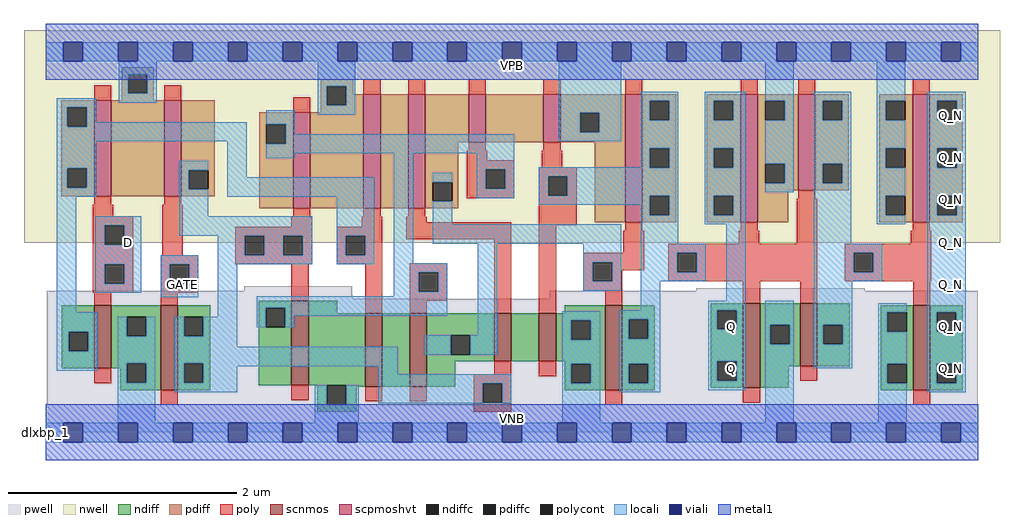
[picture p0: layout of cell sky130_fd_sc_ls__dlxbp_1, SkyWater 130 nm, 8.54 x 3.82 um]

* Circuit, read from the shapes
.subckt sky130_fd_sc_ls__dlxbp_1 D GATE VGND VNB VPB VPWR Q Q_N
XM1 VGND D n1 VNB sky130_fd_pr__nfet_01v8 w=0.55 l=0.15
XM2 n2 GATE VGND VNB sky130_fd_pr__nfet_01v8 w=0.74 l=0.15
XM3 VGND n2 n3 VNB sky130_fd_pr__nfet_01v8 w=0.74 l=0.15
XM4 n4 n1 VGND VNB sky130_fd_pr__nfet_01v8 w=0.64 l=0.15
XM5 n5 n3 n4 VNB sky130_fd_pr__nfet_01v8 w=0.64 l=0.15
XM6 n6 n2 n5 VNB sky130_fd_pr__nfet_01v8 w=0.42 l=0.15
XM7 VGND n7 n6 VNB sky130_fd_pr__nfet_01v8 w=0.42 l=0.15
XM8 n7 n5 VGND VNB sky130_fd_pr__nfet_01v8 w=0.74 l=0.15
XM9 VGND n7 Q VNB sky130_fd_pr__nfet_01v8 w=0.74 l=0.15
XM10 n8 n7 VGND VNB sky130_fd_pr__nfet_01v8 w=0.55 l=0.15
XM11 Q_N n8 VGND VNB sky130_fd_pr__nfet_01v8 w=0.74 l=0.15
XM12 VPWR D n1 VPB sky130_fd_pr__pfet_01v8_hvt w=0.84 l=0.15
XM13 n2 GATE VPWR VPB sky130_fd_pr__pfet_01v8_hvt w=0.84 l=0.15
XM14 VPWR n2 n3 VPB sky130_fd_pr__pfet_01v8_hvt w=0.84 l=0.15
XM15 n9 n1 VPWR VPB sky130_fd_pr__pfet_01v8_hvt w=1 l=0.15
XM16 n5 n2 n9 VPB sky130_fd_pr__pfet_01v8_hvt w=1 l=0.15
XM17 n10 n3 n5 VPB sky130_fd_pr__pfet_01v8_hvt w=0.42 l=0.15
XM18 VPWR n7 n10 VPB sky130_fd_pr__pfet_01v8_hvt w=0.42 l=0.15
XM19 n7 n5 VPWR VPB sky130_fd_pr__pfet_01v8_hvt w=1.12 l=0.15
XM20 VPWR n7 Q VPB sky130_fd_pr__pfet_01v8_hvt w=1.12 l=0.15
XM21 n8 n7 VPWR VPB sky130_fd_pr__pfet_01v8_hvt w=0.84 l=0.15
XM22 Q_N n8 VPWR VPB sky130_fd_pr__pfet_01v8_hvt w=1.12 l=0.15
.ends

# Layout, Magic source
magic
tech sky130A
magscale 1 2
<< nwell >>
rect -38 332 1670 704
<< pwell >>
rect 347 248 536 256
rect 1138 248 1433 252
rect 2 234 536 248
rect 882 234 1631 248
rect 2 49 1631 234
rect 0 0 1632 49
<< scnmos >>
rect 85 112 115 222
rect 201 74 231 222
rect 430 82 460 230
rect 559 80 589 208
rect 637 80 667 208
rect 785 124 815 208
rect 863 124 893 208
rect 979 74 1009 222
rect 1220 78 1250 226
rect 1320 116 1350 226
rect 1518 74 1548 222
<< scpmoshvt >>
rect 85 413 115 581
rect 207 413 237 581
rect 433 392 463 560
rect 556 392 586 592
rect 634 392 664 592
rect 740 508 770 592
rect 871 508 901 592
rect 1014 368 1044 592
rect 1216 368 1246 592
rect 1317 424 1347 592
rect 1517 368 1547 592
<< ndiff >>
rect 28 176 85 222
rect 28 142 40 176
rect 74 142 85 176
rect 28 112 85 142
rect 115 202 201 222
rect 115 168 142 202
rect 176 168 201 202
rect 115 121 201 168
rect 115 112 142 121
rect 130 87 142 112
rect 176 87 201 121
rect 130 74 201 87
rect 231 202 288 222
rect 231 168 242 202
rect 276 168 288 202
rect 231 121 288 168
rect 231 87 242 121
rect 276 87 288 121
rect 231 74 288 87
rect 373 218 430 230
rect 373 184 385 218
rect 419 184 430 218
rect 373 82 430 184
rect 460 208 510 230
rect 908 208 979 222
rect 460 82 559 208
rect 475 48 492 82
rect 526 80 559 82
rect 589 80 637 208
rect 667 170 785 208
rect 667 136 709 170
rect 743 136 785 170
rect 667 124 785 136
rect 815 124 863 208
rect 893 196 979 208
rect 893 162 920 196
rect 954 162 979 196
rect 893 124 979 162
rect 667 80 717 124
rect 908 120 979 124
rect 526 48 544 80
rect 475 36 544 48
rect 908 86 920 120
rect 954 86 979 120
rect 908 74 979 86
rect 1009 198 1066 222
rect 1009 164 1020 198
rect 1054 164 1066 198
rect 1009 120 1066 164
rect 1009 86 1020 120
rect 1054 86 1066 120
rect 1009 74 1066 86
rect 1164 214 1220 226
rect 1164 180 1175 214
rect 1209 180 1220 214
rect 1164 124 1220 180
rect 1164 90 1175 124
rect 1209 90 1220 124
rect 1164 78 1220 90
rect 1250 188 1320 226
rect 1250 154 1268 188
rect 1302 154 1320 188
rect 1250 116 1320 154
rect 1350 188 1407 226
rect 1350 154 1361 188
rect 1395 154 1407 188
rect 1350 116 1407 154
rect 1461 210 1518 222
rect 1461 176 1473 210
rect 1507 176 1518 210
rect 1461 120 1518 176
rect 1250 78 1300 116
rect 1461 86 1473 120
rect 1507 86 1518 120
rect 1461 74 1518 86
rect 1548 210 1605 222
rect 1548 176 1559 210
rect 1593 176 1605 210
rect 1548 120 1605 176
rect 1548 86 1559 120
rect 1593 86 1605 120
rect 1548 74 1605 86
<< pdiff >>
rect 133 627 189 639
rect 133 593 144 627
rect 178 593 189 627
rect 133 581 189 593
rect 481 606 538 618
rect 27 569 85 581
rect 27 535 38 569
rect 72 535 85 569
rect 27 462 85 535
rect 27 428 38 462
rect 72 428 85 462
rect 27 413 85 428
rect 115 413 207 581
rect 237 459 296 581
rect 481 572 492 606
rect 526 592 538 606
rect 526 572 556 592
rect 481 560 556 572
rect 237 425 250 459
rect 284 425 296 459
rect 237 413 296 425
rect 374 539 433 560
rect 374 505 386 539
rect 420 505 433 539
rect 374 392 433 505
rect 463 392 556 560
rect 586 392 634 592
rect 664 508 740 592
rect 770 508 871 592
rect 901 559 1014 592
rect 901 525 935 559
rect 969 525 1014 559
rect 901 508 1014 525
rect 664 438 722 508
rect 664 404 677 438
rect 711 404 722 438
rect 664 392 722 404
rect 961 368 1014 508
rect 1044 580 1103 592
rect 1044 546 1057 580
rect 1091 546 1103 580
rect 1044 497 1103 546
rect 1044 463 1057 497
rect 1091 463 1103 497
rect 1044 414 1103 463
rect 1044 380 1057 414
rect 1091 380 1103 414
rect 1044 368 1103 380
rect 1157 580 1216 592
rect 1157 546 1169 580
rect 1203 546 1216 580
rect 1157 497 1216 546
rect 1157 463 1169 497
rect 1203 463 1216 497
rect 1157 414 1216 463
rect 1157 380 1169 414
rect 1203 380 1216 414
rect 1157 368 1216 380
rect 1246 580 1317 592
rect 1246 546 1259 580
rect 1293 546 1317 580
rect 1246 470 1317 546
rect 1246 436 1259 470
rect 1293 436 1317 470
rect 1246 424 1317 436
rect 1347 580 1405 592
rect 1347 546 1360 580
rect 1394 546 1405 580
rect 1347 470 1405 546
rect 1347 436 1360 470
rect 1394 436 1405 470
rect 1347 424 1405 436
rect 1459 580 1517 592
rect 1459 546 1470 580
rect 1504 546 1517 580
rect 1459 497 1517 546
rect 1459 463 1470 497
rect 1504 463 1517 497
rect 1246 368 1299 424
rect 1459 414 1517 463
rect 1459 380 1470 414
rect 1504 380 1517 414
rect 1459 368 1517 380
rect 1547 580 1605 592
rect 1547 546 1560 580
rect 1594 546 1605 580
rect 1547 497 1605 546
rect 1547 463 1560 497
rect 1594 463 1605 497
rect 1547 414 1605 463
rect 1547 380 1560 414
rect 1594 380 1605 414
rect 1547 368 1605 380
<< ndiffc >>
rect 40 142 74 176
rect 142 168 176 202
rect 142 87 176 121
rect 242 168 276 202
rect 242 87 276 121
rect 385 184 419 218
rect 492 48 526 82
rect 709 136 743 170
rect 920 162 954 196
rect 920 86 954 120
rect 1020 164 1054 198
rect 1020 86 1054 120
rect 1175 180 1209 214
rect 1175 90 1209 124
rect 1268 154 1302 188
rect 1361 154 1395 188
rect 1473 176 1507 210
rect 1473 86 1507 120
rect 1559 176 1593 210
rect 1559 86 1593 120
<< pdiffc >>
rect 144 593 178 627
rect 38 535 72 569
rect 38 428 72 462
rect 492 572 526 606
rect 250 425 284 459
rect 386 505 420 539
rect 935 525 969 559
rect 677 404 711 438
rect 1057 546 1091 580
rect 1057 463 1091 497
rect 1057 380 1091 414
rect 1169 546 1203 580
rect 1169 463 1203 497
rect 1169 380 1203 414
rect 1259 546 1293 580
rect 1259 436 1293 470
rect 1360 546 1394 580
rect 1360 436 1394 470
rect 1470 546 1504 580
rect 1470 463 1504 497
rect 1470 380 1504 414
rect 1560 546 1594 580
rect 1560 463 1594 497
rect 1560 380 1594 414
<< poly >>
rect 85 581 115 607
rect 207 581 237 607
rect 433 560 463 586
rect 556 592 586 618
rect 634 592 664 618
rect 740 592 770 618
rect 871 592 901 618
rect 1014 592 1044 618
rect 1216 592 1246 618
rect 1317 592 1347 618
rect 1517 592 1547 618
rect 85 398 115 413
rect 207 398 237 413
rect 82 378 118 398
rect 82 362 153 378
rect 82 328 103 362
rect 137 328 153 362
rect 82 294 153 328
rect 204 310 240 398
rect 740 493 770 508
rect 871 493 901 508
rect 737 476 773 493
rect 737 460 820 476
rect 868 464 904 493
rect 737 426 770 460
rect 804 426 820 460
rect 737 410 820 426
rect 863 448 929 464
rect 863 414 879 448
rect 913 414 929 448
rect 433 377 463 392
rect 556 377 586 392
rect 634 377 664 392
rect 430 360 466 377
rect 553 360 589 377
rect 332 344 466 360
rect 332 310 348 344
rect 382 310 416 344
rect 450 310 466 344
rect 82 260 103 294
rect 137 260 153 294
rect 82 244 153 260
rect 201 294 267 310
rect 332 294 466 310
rect 509 344 589 360
rect 509 310 525 344
rect 559 310 589 344
rect 631 368 667 377
rect 631 338 815 368
rect 509 294 589 310
rect 201 260 217 294
rect 251 260 267 294
rect 201 244 267 260
rect 85 222 115 244
rect 201 222 231 244
rect 430 230 460 294
rect 85 86 115 112
rect 559 208 589 294
rect 637 280 703 296
rect 637 246 653 280
rect 687 246 703 280
rect 637 230 703 246
rect 637 208 667 230
rect 785 208 815 338
rect 863 362 929 414
rect 1317 409 1347 424
rect 863 208 893 362
rect 1014 353 1044 368
rect 1216 353 1246 368
rect 1011 314 1047 353
rect 1213 330 1249 353
rect 1314 330 1350 409
rect 1517 353 1547 368
rect 1514 330 1550 353
rect 941 298 1047 314
rect 941 264 957 298
rect 991 284 1047 298
rect 1089 314 1350 330
rect 991 264 1009 284
rect 1089 280 1105 314
rect 1139 280 1350 314
rect 1089 264 1350 280
rect 1398 314 1550 330
rect 1398 280 1414 314
rect 1448 280 1550 314
rect 1398 264 1550 280
rect 941 248 1009 264
rect 979 222 1009 248
rect 1220 226 1250 264
rect 1320 226 1350 264
rect 201 48 231 74
rect 430 56 460 82
rect 785 102 815 124
rect 749 86 815 102
rect 863 98 893 124
rect 559 54 589 80
rect 637 54 667 80
rect 749 52 765 86
rect 799 52 815 86
rect 1518 222 1548 264
rect 1320 90 1350 116
rect 749 36 815 52
rect 979 48 1009 74
rect 1220 52 1250 78
rect 1518 48 1548 74
<< polycont >>
rect 103 328 137 362
rect 770 426 804 460
rect 879 414 913 448
rect 348 310 382 344
rect 416 310 450 344
rect 103 260 137 294
rect 525 310 559 344
rect 217 260 251 294
rect 653 246 687 280
rect 957 264 991 298
rect 1105 280 1139 314
rect 1414 280 1448 314
rect 765 52 799 86
<< locali >>
rect 0 649 31 683
rect 65 649 127 683
rect 161 649 223 683
rect 257 649 319 683
rect 353 649 415 683
rect 449 649 511 683
rect 545 649 607 683
rect 641 649 703 683
rect 737 649 799 683
rect 833 649 895 683
rect 929 649 991 683
rect 1025 649 1087 683
rect 1121 649 1183 683
rect 1217 649 1279 683
rect 1313 649 1375 683
rect 1409 649 1471 683
rect 1505 649 1567 683
rect 1601 649 1632 683
rect 128 627 194 649
rect 128 593 144 627
rect 178 593 194 627
rect 19 569 88 585
rect 128 577 194 593
rect 476 606 542 649
rect 19 535 38 569
rect 72 543 88 569
rect 476 572 492 606
rect 526 572 542 606
rect 72 535 352 543
rect 19 509 352 535
rect 19 462 88 509
rect 19 428 38 462
rect 72 428 88 462
rect 19 412 88 428
rect 234 459 284 475
rect 234 425 250 459
rect 19 210 53 412
rect 234 378 284 425
rect 318 446 352 509
rect 386 539 436 564
rect 476 556 542 572
rect 898 559 1007 649
rect 420 522 436 539
rect 898 525 935 559
rect 969 525 1007 559
rect 420 505 820 522
rect 898 509 1007 525
rect 1041 580 1107 596
rect 1041 546 1057 580
rect 1091 546 1107 580
rect 386 488 820 505
rect 386 480 436 488
rect 318 412 575 446
rect 87 362 167 378
rect 87 328 103 362
rect 137 328 167 362
rect 234 344 466 378
rect 87 294 167 328
rect 301 310 348 344
rect 382 310 416 344
rect 450 310 466 344
rect 87 260 103 294
rect 137 260 167 294
rect 87 244 167 260
rect 201 294 267 310
rect 201 260 217 294
rect 251 260 267 294
rect 201 236 267 260
rect 301 294 466 310
rect 509 344 575 412
rect 509 310 525 344
rect 559 310 575 344
rect 509 294 575 310
rect 609 296 643 488
rect 754 460 820 488
rect 1041 497 1107 546
rect 1041 464 1057 497
rect 677 438 711 454
rect 754 426 770 460
rect 804 426 820 460
rect 754 410 820 426
rect 863 463 1057 464
rect 1091 463 1107 497
rect 863 448 1107 463
rect 863 414 879 448
rect 913 414 1107 448
rect 677 364 711 404
rect 863 398 1057 414
rect 1041 380 1057 398
rect 1091 380 1107 414
rect 677 330 1007 364
rect 19 176 90 210
rect 301 202 335 294
rect 609 280 703 296
rect 609 246 653 280
rect 687 246 703 280
rect 609 238 703 246
rect 19 142 40 176
rect 74 142 90 176
rect 19 108 90 142
rect 126 168 142 202
rect 176 168 192 202
rect 126 121 192 168
rect 126 87 142 121
rect 176 87 192 121
rect 126 17 192 87
rect 226 168 242 202
rect 276 168 335 202
rect 369 218 703 238
rect 369 184 385 218
rect 419 204 703 218
rect 419 184 435 204
rect 756 170 790 330
rect 941 298 1007 330
rect 941 264 957 298
rect 991 264 1007 298
rect 941 248 1007 264
rect 1041 330 1107 380
rect 1153 580 1225 596
rect 1153 546 1169 580
rect 1203 546 1225 580
rect 1153 497 1225 546
rect 1153 463 1169 497
rect 1203 463 1225 497
rect 1153 414 1225 463
rect 1259 580 1309 649
rect 1293 546 1309 580
rect 1259 470 1309 546
rect 1293 436 1309 470
rect 1259 420 1309 436
rect 1344 580 1410 596
rect 1344 546 1360 580
rect 1394 546 1410 580
rect 1344 470 1410 546
rect 1344 436 1360 470
rect 1394 436 1410 470
rect 1153 380 1169 414
rect 1203 380 1225 414
rect 1153 364 1225 380
rect 1041 314 1155 330
rect 1041 280 1105 314
rect 1139 280 1155 314
rect 1041 264 1155 280
rect 1041 214 1075 264
rect 1191 230 1225 364
rect 1344 330 1410 436
rect 1454 580 1504 649
rect 1454 546 1470 580
rect 1454 497 1504 546
rect 1454 463 1470 497
rect 1454 414 1504 463
rect 1454 380 1470 414
rect 1454 364 1504 380
rect 1543 580 1610 596
rect 1543 546 1560 580
rect 1594 546 1610 580
rect 1543 497 1610 546
rect 1543 463 1560 497
rect 1594 463 1610 497
rect 1543 414 1610 463
rect 1543 380 1560 414
rect 1594 380 1610 414
rect 1344 314 1464 330
rect 1344 280 1414 314
rect 1448 280 1464 314
rect 1344 264 1464 280
rect 226 150 335 168
rect 226 121 616 150
rect 662 136 709 170
rect 743 136 790 170
rect 904 196 970 212
rect 904 162 920 196
rect 954 162 970 196
rect 226 87 242 121
rect 276 116 616 121
rect 276 87 335 116
rect 226 70 335 87
rect 582 102 616 116
rect 904 120 970 162
rect 582 86 815 102
rect 471 48 492 82
rect 526 48 548 82
rect 582 52 765 86
rect 799 52 815 86
rect 582 51 815 52
rect 904 86 920 120
rect 954 86 970 120
rect 471 17 548 48
rect 904 17 970 86
rect 1004 198 1075 214
rect 1004 164 1020 198
rect 1054 164 1075 198
rect 1004 120 1075 164
rect 1004 86 1020 120
rect 1054 86 1075 120
rect 1004 70 1075 86
rect 1159 214 1225 230
rect 1159 180 1175 214
rect 1209 180 1225 214
rect 1159 124 1225 180
rect 1159 90 1175 124
rect 1209 90 1225 124
rect 1159 74 1225 90
rect 1259 188 1309 230
rect 1259 154 1268 188
rect 1302 154 1309 188
rect 1259 17 1309 154
rect 1344 188 1411 264
rect 1344 154 1361 188
rect 1395 154 1411 188
rect 1344 112 1411 154
rect 1457 210 1507 226
rect 1457 176 1473 210
rect 1457 120 1507 176
rect 1457 86 1473 120
rect 1457 17 1507 86
rect 1543 210 1610 380
rect 1543 176 1559 210
rect 1593 176 1610 210
rect 1543 120 1610 176
rect 1543 86 1559 120
rect 1593 86 1610 120
rect 1543 70 1610 86
rect 0 -17 31 17
rect 65 -17 127 17
rect 161 -17 223 17
rect 257 -17 319 17
rect 353 -17 415 17
rect 449 -17 511 17
rect 545 -17 607 17
rect 641 -17 703 17
rect 737 -17 799 17
rect 833 -17 895 17
rect 929 -17 991 17
rect 1025 -17 1087 17
rect 1121 -17 1183 17
rect 1217 -17 1279 17
rect 1313 -17 1375 17
rect 1409 -17 1471 17
rect 1505 -17 1567 17
rect 1601 -17 1632 17
<< viali >>
rect 31 649 65 683
rect 127 649 161 683
rect 223 649 257 683
rect 319 649 353 683
rect 415 649 449 683
rect 511 649 545 683
rect 607 649 641 683
rect 703 649 737 683
rect 799 649 833 683
rect 895 649 929 683
rect 991 649 1025 683
rect 1087 649 1121 683
rect 1183 649 1217 683
rect 1279 649 1313 683
rect 1375 649 1409 683
rect 1471 649 1505 683
rect 1567 649 1601 683
rect 31 -17 65 17
rect 127 -17 161 17
rect 223 -17 257 17
rect 319 -17 353 17
rect 415 -17 449 17
rect 511 -17 545 17
rect 607 -17 641 17
rect 703 -17 737 17
rect 799 -17 833 17
rect 895 -17 929 17
rect 991 -17 1025 17
rect 1087 -17 1121 17
rect 1183 -17 1217 17
rect 1279 -17 1313 17
rect 1375 -17 1409 17
rect 1471 -17 1505 17
rect 1567 -17 1601 17
<< metal1 >>
rect 0 683 1632 715
rect 0 649 31 683
rect 65 649 127 683
rect 161 649 223 683
rect 257 649 319 683
rect 353 649 415 683
rect 449 649 511 683
rect 545 649 607 683
rect 641 649 703 683
rect 737 649 799 683
rect 833 649 895 683
rect 929 649 991 683
rect 1025 649 1087 683
rect 1121 649 1183 683
rect 1217 649 1279 683
rect 1313 649 1375 683
rect 1409 649 1471 683
rect 1505 649 1567 683
rect 1601 649 1632 683
rect 0 617 1632 649
rect 0 17 1632 49
rect 0 -17 31 17
rect 65 -17 127 17
rect 161 -17 223 17
rect 257 -17 319 17
rect 353 -17 415 17
rect 449 -17 511 17
rect 545 -17 607 17
rect 641 -17 703 17
rect 737 -17 799 17
rect 833 -17 895 17
rect 929 -17 991 17
rect 1025 -17 1087 17
rect 1121 -17 1183 17
rect 1217 -17 1279 17
rect 1313 -17 1375 17
rect 1409 -17 1471 17
rect 1505 -17 1567 17
rect 1601 -17 1632 17
rect 0 -49 1632 -17
<< labels >>
rlabel comment s 0 0 0 0 4 dlxbp_1
flabel pwell s 0 0 1632 49 0 FreeSans 200 0 0 0 VNB
port 4 nsew ground bidirectional
flabel nwell s 0 617 1632 666 0 FreeSans 200 0 0 0 VPB
port 5 nsew power bidirectional
flabel metal1 s 0 617 1632 666 0 FreeSans 340 0 0 0 VPWR
port 6 nsew power bidirectional abutment
flabel metal1 s 0 0 1632 49 0 FreeSans 340 0 0 0 VGND
port 3 nsew ground bidirectional abutment
flabel locali s 1567 94 1601 128 0 FreeSans 340 0 0 0 Q_N
port 8 nsew signal output
flabel locali s 1567 168 1601 202 0 FreeSans 340 0 0 0 Q_N
port 8 nsew signal output
flabel locali s 1567 242 1601 276 0 FreeSans 340 0 0 0 Q_N
port 8 nsew signal output
flabel locali s 1567 316 1601 350 0 FreeSans 340 0 0 0 Q_N
port 8 nsew signal output
flabel locali s 1567 390 1601 424 0 FreeSans 340 0 0 0 Q_N
port 8 nsew signal output
flabel locali s 1567 464 1601 498 0 FreeSans 340 0 0 0 Q_N
port 8 nsew signal output
flabel locali s 1567 538 1601 572 0 FreeSans 340 0 0 0 Q_N
port 8 nsew signal output
flabel locali s 1183 94 1217 128 0 FreeSans 340 0 0 0 Q
port 7 nsew signal output
flabel locali s 1183 168 1217 202 0 FreeSans 340 0 0 0 Q
port 7 nsew signal output
flabel locali s 223 242 257 276 0 FreeSans 340 0 0 0 GATE
port 2 nsew clock input
flabel locali s 127 316 161 350 0 FreeSans 340 0 0 0 D
port 1 nsew signal input
<< properties >>
string LEFsite unit
string LEFclass CORE
string FIXED_BBOX 0 0 1632 666
string GDS_FILE $PDKPATH/libs.ref/sky130_fd_sc_ls/gds/sky130_fd_sc_ls.gds
string LEFsymmetry X Y
string GDS_END 1865524
string GDS_START 1852540
<< end >>
